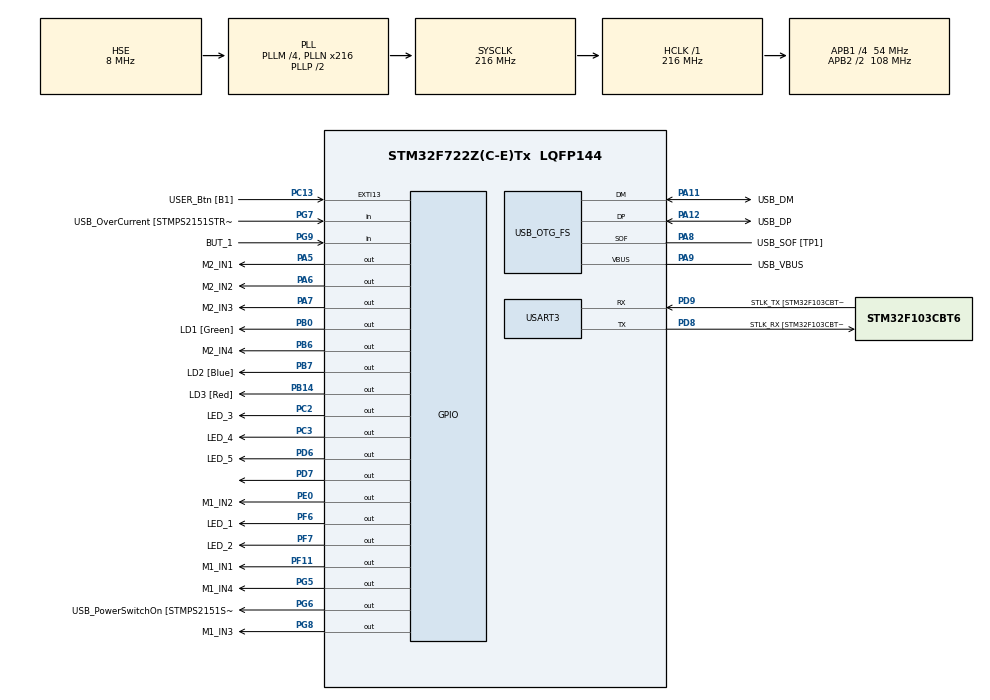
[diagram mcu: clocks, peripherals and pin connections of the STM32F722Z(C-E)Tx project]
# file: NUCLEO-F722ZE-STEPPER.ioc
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Mcu.Family=STM32F7
Mcu.Name=STM32F722Z(C-E)Tx
Mcu.Package=LQFP144
NVIC.EXTI15_10_IRQn=true\:0\:0\:false\:false\:true\:true\:true\:true
NVIC.PriorityGroup=NVIC_PRIORITYGROUP_4
PA10.GPIO_Label=USB_ID
PA10.Signal=USB_OTG_FS_ID
PA11.GPIO_Label=USB_DM
PA11.Mode=Device_Only
PA11.Signal=USB_OTG_FS_DM
PA12.GPIO_Label=USB_DP
PA12.Mode=Device_Only
PA12.Signal=USB_OTG_FS_DP
PA13.GPIO_Label=TMS
PA13.Mode=Serial_Wire
PA13.Signal=SYS_JTMS-SWDIO
PA14.GPIO_Label=TCK
PA14.Mode=Serial_Wire
PA14.Signal=SYS_JTCK-SWCLK
PA5.GPIO_Label=M2_IN1
PA5.Signal=GPIO_Output
PA6.GPIO_Label=M2_IN2
PA6.Signal=GPIO_Output
PA7.GPIO_Label=M2_IN3
PA7.Signal=GPIO_Output
PA8.GPIO_Label=USB_SOF [TP1]
PA8.Mode=Activate_SOF_FS
PA8.Signal=USB_OTG_FS_SOF
PA9.GPIO_Label=USB_VBUS
PA9.Mode=Activate_VBUS
PA9.Signal=USB_OTG_FS_VBUS
PB0.GPIO_Label=LD1 [Green]
PB0.Signal=GPIO_Output
PB14.GPIO_Label=LD3 [Red]
PB14.Signal=GPIO_Output
PB3.GPIO_Label=SWO
PB3.Signal=SYS_JTDO-SWO
PB6.GPIO_Label=M2_IN4
PB6.Signal=GPIO_Output
PB7.GPIO_Label=LD2 [Blue]
PB7.Signal=GPIO_Output
PC13.GPIO_Label=USER_Btn [B1]
PC13.Signal=GPXTI13
PC14-OSC32_IN.Mode=LSE-External-Oscillator
PC14-OSC32_IN.Signal=RCC_OSC32_IN
PC15-OSC32_OUT.Mode=LSE-External-Oscillator
PC15-OSC32_OUT.Signal=RCC_OSC32_OUT
PC2.GPIO_Label=LED_3
PC2.Signal=GPIO_Output
PC3.GPIO_Label=LED_4
PC3.Signal=GPIO_Output
PD6.GPIO_Label=LED_5
PD6.Signal=GPIO_Output
PD7.Signal=GPIO_Output
PD8.GPIO_Label=STLK_RX [STM32F103CBT6_PA3]
PD8.Mode=Asynchronous
PD8.Signal=USART3_TX
PD9.GPIO_Label=STLK_TX [STM32F103CBT6_PA2]
PD9.Mode=Asynchronous
PD9.Signal=USART3_RX
PE0.GPIO_Label=M1_IN2
PE0.Signal=GPIO_Output
PF11.GPIO_Label=M1_IN1
PF11.Signal=GPIO_Output
PF6.GPIO_Label=LED_1
PF6.Signal=GPIO_Output
PF7.GPIO_Label=LED_2
PF7.Signal=GPIO_Output
PG5.GPIO_Label=M1_IN4
PG5.Signal=GPIO_Output
PG6.GPIO_Label=USB_PowerSwitchOn [STMPS2151STR_EN]
PG6.Signal=GPIO_Output
PG7.GPIO_Label=USB_OverCurrent [STMPS2151STR_FAULT]
PG7.Signal=GPIO_Input
PG8.GPIO_Label=M1_IN3
PG8.Signal=GPIO_Output
PG9.GPIO_Label=BUT_1
PG9.GPIO_PuPd=GPIO_PULLUP
PG9.Signal=GPIO_Input
PH0-OSC_IN.GPIO_Label=MCO
PH0-OSC_IN.Mode=HSE-External-Oscillator
PH0-OSC_IN.Signal=RCC_OSC_IN
PH1-OSC_OUT.Mode=HSE-External-Oscillator
PH1-OSC_OUT.Signal=RCC_OSC_OUT
ProjectManager.HeapSize=0x200
ProjectManager.StackSize=0x400
ProjectManager.TargetToolchain=STM32CubeIDE
RCC.48MHZClocksFreq_Value=24000000
RCC.AHBFreq_Value=216000000
RCC.APB1CLKDivider=RCC_HCLK_DIV4
RCC.APB1Freq_Value=54000000
RCC.APB1TimFreq_Value=108000000
RCC.APB2CLKDivider=RCC_HCLK_DIV2
RCC.APB2Freq_Value=108000000
RCC.APB2TimFreq_Value=216000000
RCC.CortexFreq_Value=216000000
RCC.HCLKFreq_Value=216000000
RCC.HSE_VALUE=8000000
RCC.HSI_VALUE=16000000
RCC.PLLM=4
RCC.PLLMUL=RCC_PLL_MUL9
RCC.PLLN=216
RCC.PLLQ=9
RCC.PRESCALERUSB=RCC_USBCLKSOURCE_PLL_DIV1_5
RCC.SYSCLKFreq_VALUE=216000000
RCC.SYSCLKSource=RCC_SYSCLKSOURCE_PLLCLK
RCC.SYSCLKSourceVirtual=RCC_SYSCLKSOURCE_PLLCLK
RCC.USBFreq_Value=48000000
RCC.VCOOutputFreq_Value=432000000
TIM1.Prescaler=72-1
USART3.VirtualMode-Asynchronous=VM_ASYNC
USB_OTG_FS.VirtualMode=Device_Only
VP_TIM1_VS_ClockSourceINT.Mode=Internal
board=NUCLEO-F722ZE

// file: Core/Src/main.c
/* USER CODE BEGIN Header */
/**
  ******************************************************************************
  * @file           : main.c
  * @brief          : Main program body
  ******************************************************************************
  * @attention
  *
  * Copyright (c) 2023 STMicroelectronics.
  * All rights reserved.
  *
  * This software is licensed under terms that can be found in the LICENSE file
  * in the root directory of this software component.
  * If no LICENSE file comes with this software, it is provided AS-IS.
  *
  ******************************************************************************
  */

//TESTING PLAYGROUND

/* USER CODE END Header */
#include "main.h"

TIM_HandleTypeDef htim1;

UART_HandleTypeDef huart3;

PCD_HandleTypeDef hpcd_USB_OTG_FS;

/* USER CODE BEGIN PV */

int buttonPresses = 0;
int lastPressCount = 0;

/* USER CODE END PV */

void SystemClock_Config(void);
static void MX_GPIO_Init(void);
static void MX_USART3_UART_Init(void);
static void MX_USB_OTG_FS_PCD_Init(void);
static void MX_TIM1_Init(void);

/* USER CODE BEGIN 0 */

void delay (uint16_t us)
{
  __HAL_TIM_SET_COUNTER(&htim1, 0);
  while (__HAL_TIM_GET_COUNTER(&htim1) < us);
}

#define stepsperrev 4096

void stepper1_set_rpm (int rpm)  // Set rpm--> max 13, min 1,,,  went to 14 rev/min
{
	delay(60000000/stepsperrev/rpm);
}

void stepper1_half_drive (int step)
{
	switch (step){
		case 0:
			  HAL_GPIO_WritePin(GPIOG, GPIO_PIN_5, GPIO_PIN_SET);   // IN1
			  HAL_GPIO_WritePin(GPIOG, GPIO_PIN_8, GPIO_PIN_RESET);   // IN2
			  HAL_GPIO_WritePin(GPIOE, GPIO_PIN_0, GPIO_PIN_RESET);   // IN3
			  HAL_GPIO_WritePin(GPIOF, GPIO_PIN_11, GPIO_PIN_RESET);   // IN4
			  break;

		case 1:
			  HAL_GPIO_WritePin(GPIOG, GPIO_PIN_5, GPIO_PIN_SET);   // IN1
			  HAL_GPIO_WritePin(GPIOG, GPIO_PIN_8, GPIO_PIN_SET);   // IN2
			  HAL_GPIO_WritePin(GPIOE, GPIO_PIN_0, GPIO_PIN_RESET);   // IN3
			  HAL_GPIO_WritePin(GPIOF, GPIO_PIN_11, GPIO_PIN_RESET);   // IN4
			  break;

		case 2:
			  HAL_GPIO_WritePin(GPIOG, GPIO_PIN_5, GPIO_PIN_RESET);   // IN1
			  HAL_GPIO_WritePin(GPIOG, GPIO_PIN_8, GPIO_PIN_SET);   // IN2
			  HAL_GPIO_WritePin(GPIOE, GPIO_PIN_0, GPIO_PIN_RESET);   // IN3
			  HAL_GPIO_WritePin(GPIOF, GPIO_PIN_11, GPIO_PIN_RESET);   // IN4
			  break;

		case 3:
			  HAL_GPIO_WritePin(GPIOG, GPIO_PIN_5, GPIO_PIN_RESET);   // IN1
			  HAL_GPIO_WritePin(GPIOG, GPIO_PIN_8, GPIO_PIN_SET);   // IN2
			  HAL_GPIO_WritePin(GPIOE, GPIO_PIN_0, GPIO_PIN_SET);   // IN3
			  HAL_GPIO_WritePin(GPIOF, GPIO_PIN_11, GPIO_PIN_RESET);   // IN4
			  break;

		case 4:
			  HAL_GPIO_WritePin(GPIOG, GPIO_PIN_5, GPIO_PIN_RESET);   // IN1
			  HAL_GPIO_WritePin(GPIOG, GPIO_PIN_8, GPIO_PIN_RESET);   // IN2
			  HAL_GPIO_WritePin(GPIOE, GPIO_PIN_0, GPIO_PIN_SET);   // IN3
			  HAL_GPIO_WritePin(GPIOF, GPIO_PIN_11, GPIO_PIN_RESET);   // IN4
			  break;

		case 5:
			  HAL_GPIO_WritePin(GPIOG, GPIO_PIN_5, GPIO_PIN_RESET);   // IN1
			  HAL_GPIO_WritePin(GPIOG, GPIO_PIN_8, GPIO_PIN_RESET);   // IN2
			  HAL_GPIO_WritePin(GPIOE, GPIO_PIN_0, GPIO_PIN_SET);   // IN3
			  HAL_GPIO_WritePin(GPIOF, GPIO_PIN_11, GPIO_PIN_SET);   // IN4
			  break;

		case 6:
			  HAL_GPIO_WritePin(GPIOG, GPIO_PIN_5, GPIO_PIN_RESET);   // IN1
			  HAL_GPIO_WritePin(GPIOG, GPIO_PIN_8, GPIO_PIN_RESET);   // IN2
			  HAL_GPIO_WritePin(GPIOE, GPIO_PIN_0, GPIO_PIN_RESET);   // IN3
			  HAL_GPIO_WritePin(GPIOF, GPIO_PIN_11, GPIO_PIN_SET);   // IN4
			  break;

		case 7:
			  HAL_GPIO_WritePin(GPIOG, GPIO_PIN_5, GPIO_PIN_SET);   // IN1
			  HAL_GPIO_WritePin(GPIOG, GPIO_PIN_8, GPIO_PIN_RESET);   // IN2
			  HAL_GPIO_WritePin(GPIOE, GPIO_PIN_0, GPIO_PIN_RESET);   // IN3
			  HAL_GPIO_WritePin(GPIOF, GPIO_PIN_11, GPIO_PIN_SET);   // IN4
			  break;

		}
}

void stepper1_step_angle (float angle, int direction, float rpm)
{
	float anglepersequence = 0.703125;  // 360 = 512 sequences
	int numberofsequences = (int) (angle/anglepersequence);

	for (int seq=0; seq<numberofsequences; seq++)
	{
		if (direction == 0)  // for clockwise
		{
			for (int step=7; step>=0; step--)
			{
				stepper1_half_drive(step);
				stepper1_set_rpm(rpm);
			}

		}

		else if (direction == 1)  // for anti-clockwise
		{
			for (int step=0; step<8; step++)
			{
				stepper1_half_drive(step);
				stepper1_set_rpm(rpm);
			}
		}
	}
}

void stepper2_set_rpm (float rpm)  // Set rpm--> max 13, min 1,,,  went to 14 rev/min
{
	delay(60000000/stepsperrev/rpm);
}

void stepper2_half_drive (int step)
{
	switch (step){
		case 0:
			  HAL_GPIO_WritePin(GPIOA, GPIO_PIN_5, GPIO_PIN_SET);   // IN1
			  HAL_GPIO_WritePin(GPIOA, GPIO_PIN_6, GPIO_PIN_RESET);   // IN2
			  HAL_GPIO_WritePin(GPIOA, GPIO_PIN_7, GPIO_PIN_RESET);   // IN3
			  HAL_GPIO_WritePin(GPIOB, GPIO_PIN_6, GPIO_PIN_RESET);   // IN4
			  break;

		case 1:
			  HAL_GPIO_WritePin(GPIOA, GPIO_PIN_5, GPIO_PIN_SET);   // IN1
			  HAL_GPIO_WritePin(GPIOA, GPIO_PIN_6, GPIO_PIN_SET);   // IN2
			  HAL_GPIO_WritePin(GPIOA, GPIO_PIN_7, GPIO_PIN_RESET);   // IN3
			  HAL_GPIO_WritePin(GPIOB, GPIO_PIN_6, GPIO_PIN_RESET);   // IN4
			  break;

		case 2:
			  HAL_GPIO_WritePin(GPIOA, GPIO_PIN_5, GPIO_PIN_RESET);   // IN1
			  HAL_GPIO_WritePin(GPIOA, GPIO_PIN_6, GPIO_PIN_SET);   // IN2
			  HAL_GPIO_WritePin(GPIOA, GPIO_PIN_7, GPIO_PIN_RESET);   // IN3
			  HAL_GPIO_WritePin(GPIOB, GPIO_PIN_6, GPIO_PIN_RESET);   // IN4
			  break;

		case 3:
			  HAL_GPIO_WritePin(GPIOA, GPIO_PIN_5, GPIO_PIN_RESET);   // IN1
			  HAL_GPIO_WritePin(GPIOA, GPIO_PIN_6, GPIO_PIN_SET);   // IN2
			  HAL_GPIO_WritePin(GPIOA, GPIO_PIN_7, GPIO_PIN_SET);   // IN3
			  HAL_GPIO_WritePin(GPIOB, GPIO_PIN_6, GPIO_PIN_RESET);   // IN4
			  break;

		case 4:
			  HAL_GPIO_WritePin(GPIOA, GPIO_PIN_5, GPIO_PIN_RESET);   // IN1
			  HAL_GPIO_WritePin(GPIOA, GPIO_PIN_6, GPIO_PIN_RESET);   // IN2
			  HAL_GPIO_WritePin(GPIOA, GPIO_PIN_7, GPIO_PIN_SET);   // IN3
			  HAL_GPIO_WritePin(GPIOB, GPIO_PIN_6, GPIO_PIN_RESET);   // IN4
			  break;

		case 5:
			  HAL_GPIO_WritePin(GPIOA, GPIO_PIN_5, GPIO_PIN_RESET);   // IN1
			  HAL_GPIO_WritePin(GPIOA, GPIO_PIN_6, GPIO_PIN_RESET);   // IN2
			  HAL_GPIO_WritePin(GPIOA, GPIO_PIN_7, GPIO_PIN_SET);   // IN3
			  HAL_GPIO_WritePin(GPIOB, GPIO_PIN_6, GPIO_PIN_SET);   // IN4
			  break;

		case 6:
			  HAL_GPIO_WritePin(GPIOA, GPIO_PIN_5, GPIO_PIN_RESET);   // IN1
			  HAL_GPIO_WritePin(GPIOA, GPIO_PIN_6, GPIO_PIN_RESET);   // IN2
			  HAL_GPIO_WritePin(GPIOA, GPIO_PIN_7, GPIO_PIN_RESET);   // IN3
			  HAL_GPIO_WritePin(GPIOB, GPIO_PIN_6, GPIO_PIN_SET);   // IN4
			  break;

		case 7:
			  HAL_GPIO_WritePin(GPIOA, GPIO_PIN_5, GPIO_PIN_SET);   // IN1
			  HAL_GPIO_WritePin(GPIOA, GPIO_PIN_6, GPIO_PIN_RESET);   // IN2
			  HAL_GPIO_WritePin(GPIOA, GPIO_PIN_7, GPIO_PIN_RESET);   // IN3
			  HAL_GPIO_WritePin(GPIOB, GPIO_PIN_6, GPIO_PIN_SET);   // IN4
			  break;

		}
}

void stepper2_step_angle (float angle, int direction, float rpm)
{
	float anglepersequence = 0.703125;  // 360 = 512 sequences
	int numberofsequences = (int) (angle/anglepersequence);

	for (int seq=0; seq<numberofsequences; seq++)
	{
		if (direction == 0)  // for clockwise
		{
			for (int step=7; step>=0; step--)
			{
				stepper2_half_drive(step);
				stepper2_set_rpm(rpm);
			}

		}

		else if (direction == 1)  // for anti-clockwise
		{
			for (int step=0; step<8; step++)
			{
				stepper2_half_drive(step);
				stepper2_set_rpm(rpm);
			}
		}
	}
}

/* USER CODE END 0 */

int main(void)
{

  /* MCU Configuration--------------------------------------------------------*/

  /* Reset of all peripherals, Initializes the Flash interface and the Systick. */
  HAL_Init();

  /* Configure the system clock */
  SystemClock_Config();

  /* Initialize all configured peripherals */
  MX_GPIO_Init();
  MX_USART3_UART_Init();
  MX_USB_OTG_FS_PCD_Init();
  MX_TIM1_Init();
  /* USER CODE BEGIN 2 */

  HAL_TIM_Base_Start(&htim1);

  /* USER CODE END 2 */

  /* Infinite loop */
  /* USER CODE BEGIN WHILE */
  while (1)
  {
	  if (HAL_GPIO_ReadPin(GPIOG, GPIO_PIN_9) == 0)
	  {
		  buttonPresses++;
		  HAL_Delay(250);								//debounce switch
	  }

	  if (buttonPresses == 6) buttonPresses = 0;
	  if (lastPressCount != buttonPresses)
	  {
		  if (buttonPresses == 1){
			  HAL_GPIO_WritePin(GPIOF, GPIO_PIN_6, GPIO_PIN_SET);
			  HAL_GPIO_WritePin(GPIOF, GPIO_PIN_7, GPIO_PIN_RESET);
			  HAL_GPIO_WritePin(GPIOC, GPIO_PIN_2, GPIO_PIN_RESET);
			  HAL_GPIO_WritePin(GPIOC, GPIO_PIN_3, GPIO_PIN_RESET);
			  HAL_GPIO_WritePin(GPIOD, GPIO_PIN_6, GPIO_PIN_RESET);
			  stepper2_step_angle(216, 0, 2);
		  }
		  else if (buttonPresses == 2){
			  HAL_GPIO_WritePin(GPIOF, GPIO_PIN_6, GPIO_PIN_RESET);
			  HAL_GPIO_WritePin(GPIOF, GPIO_PIN_7, GPIO_PIN_SET);
			  HAL_GPIO_WritePin(GPIOC, GPIO_PIN_2, GPIO_PIN_RESET);
			  HAL_GPIO_WritePin(GPIOC, GPIO_PIN_3, GPIO_PIN_RESET);
			  HAL_GPIO_WritePin(GPIOD, GPIO_PIN_6, GPIO_PIN_RESET);
			  stepper1_step_angle(330, 1, 2);
		  }
		  else if (buttonPresses == 3){
			  HAL_GPIO_WritePin(GPIOF, GPIO_PIN_6, GPIO_PIN_RESET);
			  HAL_GPIO_WritePin(GPIOF, GPIO_PIN_7, GPIO_PIN_RESET);
			  HAL_GPIO_WritePin(GPIOC, GPIO_PIN_2, GPIO_PIN_SET);
			  HAL_GPIO_WritePin(GPIOC, GPIO_PIN_3, GPIO_PIN_RESET);
			  HAL_GPIO_WritePin(GPIOD, GPIO_PIN_6, GPIO_PIN_RESET);
			  stepper1_step_angle(150, 0, 2);
		  }
		  else if (buttonPresses == 4){
			  HAL_GPIO_WritePin(GPIOF, GPIO_PIN_6, GPIO_PIN_RESET);
			  HAL_GPIO_WritePin(GPIOF, GPIO_PIN_7, GPIO_PIN_RESET);
			  HAL_GPIO_WritePin(GPIOC, GPIO_PIN_2, GPIO_PIN_RESET);
			  HAL_GPIO_WritePin(GPIOC, GPIO_PIN_3, GPIO_PIN_SET);
			  HAL_GPIO_WritePin(GPIOD, GPIO_PIN_6, GPIO_PIN_RESET);
			  stepper1_step_angle(240, 0, 2);
		  }
		  else if (buttonPresses == 5){
			  HAL_GPIO_WritePin(GPIOF, GPIO_PIN_6, GPIO_PIN_RESET);
			  HAL_GPIO_WritePin(GPIOF, GPIO_PIN_7, GPIO_PIN_RESET);
			  HAL_GPIO_WritePin(GPIOC, GPIO_PIN_2, GPIO_PIN_RESET);
			  HAL_GPIO_WritePin(GPIOC, GPIO_PIN_3, GPIO_PIN_RESET);
			  HAL_GPIO_WritePin(GPIOD, GPIO_PIN_6, GPIO_PIN_SET);
			  stepper1_step_angle(30, 0, 2);
		  }
		  else {
		  }
		  lastPressCount = buttonPresses;
	  }

	  //Stepper motor test

	  //stepper2_step_angle(90, 0, 1);
	  //stepper1_step_angle(180, 0, 1);

	  /*
	  for (int i=0; i<512; i++)
	  {
		  for (int i=7; i>=0; i--)
		  {
			  stepper1_half_drive(i);
			  stepper1_set_rpm(2);

			  stepper2_half_drive(i);
			  stepper2_set_rpm(2);
		  }
	  }
	  */

	  //stepper_step_angle(90, 1, 5);
	  //HAL_Delay(2000);

	  //GPIO input test
	  /*
	  if (HAL_GPIO_ReadPin(GPIOG, GPIO_PIN_9) == 0)
	  {
		  HAL_GPIO_WritePin(GPIOF, GPIO_PIN_6, GPIO_PIN_RESET);
		  HAL_GPIO_WritePin(GPIOF, GPIO_PIN_7, GPIO_PIN_RESET);
		  HAL_GPIO_WritePin(GPIOC, GPIO_PIN_2, GPIO_PIN_RESET);
		  HAL_GPIO_WritePin(GPIOC, GPIO_PIN_3, GPIO_PIN_RESET);
		  HAL_GPIO_WritePin(GPIOD, GPIO_PIN_6, GPIO_PIN_RESET);

	  }
	  else
	  {
		  HAL_GPIO_WritePin(GPIOF, GPIO_PIN_6, GPIO_PIN_SET);
		  HAL_GPIO_WritePin(GPIOF, GPIO_PIN_7, GPIO_PIN_SET);
		  HAL_GPIO_WritePin(GPIOC, GPIO_PIN_2, GPIO_PIN_SET);
		  HAL_GPIO_WritePin(GPIOC, GPIO_PIN_3, GPIO_PIN_SET);
		  HAL_GPIO_WritePin(GPIOD, GPIO_PIN_6, GPIO_PIN_SET);
	  }
	  */

	  /*
	  //Blink test
	  HAL_GPIO_WritePin(GPIOB, GPIO_PIN_0, GPIO_PIN_SET);
	  HAL_Delay(200);
	  HAL_GPIO_WritePin(GPIOB, GPIO_PIN_0, GPIO_PIN_RESET);
	  HAL_GPIO_WritePin(GPIOB, GPIO_PIN_7, GPIO_PIN_SET);
	  HAL_Delay(200);
	  HAL_GPIO_WritePin(GPIOB, GPIO_PIN_7, GPIO_PIN_RESET);
	  HAL_GPIO_WritePin(GPIOB, GPIO_PIN_14, GPIO_PIN_SET);
	  HAL_Delay(200);
	  HAL_GPIO_WritePin(GPIOB, GPIO_PIN_14, GPIO_PIN_RESET);
	  */
    /* USER CODE END WHILE */

  }
}

void SystemClock_Config(void)
{
  RCC_OscInitTypeDef RCC_OscInitStruct = {0};
  RCC_ClkInitTypeDef RCC_ClkInitStruct = {0};

  /** Configure LSE Drive Capability
  */
  HAL_PWR_EnableBkUpAccess();

  /** Configure the main internal regulator output voltage
  */
  __HAL_RCC_PWR_CLK_ENABLE();
  __HAL_PWR_VOLTAGESCALING_CONFIG(PWR_REGULATOR_VOLTAGE_SCALE1);

  /** Initializes the RCC Oscillators according to the specified parameters
  * in the RCC_OscInitTypeDef structure.
  */
  RCC_OscInitStruct.OscillatorType = RCC_OSCILLATORTYPE_HSE;
  RCC_OscInitStruct.HSEState = RCC_HSE_ON;
  RCC_OscInitStruct.PLL.PLLState = RCC_PLL_ON;
  RCC_OscInitStruct.PLL.PLLSource = RCC_PLLSOURCE_HSE;
  RCC_OscInitStruct.PLL.PLLM = 4;
  RCC_OscInitStruct.PLL.PLLN = 216;
  RCC_OscInitStruct.PLL.PLLP = RCC_PLLP_DIV2;
  RCC_OscInitStruct.PLL.PLLQ = 9;
  if (HAL_RCC_OscConfig(&RCC_OscInitStruct) != HAL_OK)
  {
    Error_Handler();
  }

  /** Activate the Over-Drive mode
  */
  if (HAL_PWREx_EnableOverDrive() != HAL_OK)
  {
    Error_Handler();
  }

  /** Initializes the CPU, AHB and APB buses clocks
  */
  RCC_ClkInitStruct.ClockType = RCC_CLOCKTYPE_HCLK|RCC_CLOCKTYPE_SYSCLK
                              |RCC_CLOCKTYPE_PCLK1|RCC_CLOCKTYPE_PCLK2;
  RCC_ClkInitStruct.SYSCLKSource = RCC_SYSCLKSOURCE_PLLCLK;
  RCC_ClkInitStruct.AHBCLKDivider = RCC_SYSCLK_DIV1;
  RCC_ClkInitStruct.APB1CLKDivider = RCC_HCLK_DIV4;
  RCC_ClkInitStruct.APB2CLKDivider = RCC_HCLK_DIV2;

  if (HAL_RCC_ClockConfig(&RCC_ClkInitStruct, FLASH_LATENCY_7) != HAL_OK)
  {
    Error_Handler();
  }
}

static void MX_TIM1_Init(void)
{

  TIM_ClockConfigTypeDef sClockSourceConfig = {0};
  TIM_MasterConfigTypeDef sMasterConfig = {0};

  htim1.Instance = TIM1;
  htim1.Init.Prescaler = 72-1;
  htim1.Init.CounterMode = TIM_COUNTERMODE_UP;
  htim1.Init.Period = 65535;
  htim1.Init.ClockDivision = TIM_CLOCKDIVISION_DIV1;
  htim1.Init.RepetitionCounter = 0;
  htim1.Init.AutoReloadPreload = TIM_AUTORELOAD_PRELOAD_DISABLE;
  if (HAL_TIM_Base_Init(&htim1) != HAL_OK)
  {
    Error_Handler();
  }
  sClockSourceConfig.ClockSource = TIM_CLOCKSOURCE_INTERNAL;
  if (HAL_TIM_ConfigClockSource(&htim1, &sClockSourceConfig) != HAL_OK)
  {
    Error_Handler();
  }
  sMasterConfig.MasterOutputTrigger = TIM_TRGO_RESET;
  sMasterConfig.MasterOutputTrigger2 = TIM_TRGO2_RESET;
  sMasterConfig.MasterSlaveMode = TIM_MASTERSLAVEMODE_DISABLE;
  if (HAL_TIMEx_MasterConfigSynchronization(&htim1, &sMasterConfig) != HAL_OK)
  {
    Error_Handler();
  }

}

static void MX_USART3_UART_Init(void)
{

  huart3.Instance = USART3;
  huart3.Init.BaudRate = 115200;
  huart3.Init.WordLength = UART_WORDLENGTH_8B;
  huart3.Init.StopBits = UART_STOPBITS_1;
  huart3.Init.Parity = UART_PARITY_NONE;
  huart3.Init.Mode = UART_MODE_TX_RX;
  huart3.Init.HwFlowCtl = UART_HWCONTROL_NONE;
  huart3.Init.OverSampling = UART_OVERSAMPLING_16;
  huart3.Init.OneBitSampling = UART_ONE_BIT_SAMPLE_DISABLE;
  huart3.AdvancedInit.AdvFeatureInit = UART_ADVFEATURE_NO_INIT;
  if (HAL_UART_Init(&huart3) != HAL_OK)
  {
    Error_Handler();
  }

}

static void MX_USB_OTG_FS_PCD_Init(void)
{

  hpcd_USB_OTG_FS.Instance = USB_OTG_FS;
  hpcd_USB_OTG_FS.Init.dev_endpoints = 6;
  hpcd_USB_OTG_FS.Init.dma_enable = DISABLE;
  hpcd_USB_OTG_FS.Init.phy_itface = PCD_PHY_EMBEDDED;
  hpcd_USB_OTG_FS.Init.Sof_enable = ENABLE;
  hpcd_USB_OTG_FS.Init.low_power_enable = DISABLE;
  hpcd_USB_OTG_FS.Init.lpm_enable = DISABLE;
  hpcd_USB_OTG_FS.Init.battery_charging_enable = ENABLE;
  hpcd_USB_OTG_FS.Init.vbus_sensing_enable = ENABLE;
  hpcd_USB_OTG_FS.Init.use_dedicated_ep1 = DISABLE;
  if (HAL_PCD_Init(&hpcd_USB_OTG_FS) != HAL_OK)
  {
    Error_Handler();
  }

}

static void MX_GPIO_Init(void)
{
  GPIO_InitTypeDef GPIO_InitStruct = {0};

  /* GPIO Ports Clock Enable */
  __HAL_RCC_GPIOC_CLK_ENABLE();
  __HAL_RCC_GPIOF_CLK_ENABLE();
  __HAL_RCC_GPIOH_CLK_ENABLE();
  __HAL_RCC_GPIOA_CLK_ENABLE();
  __HAL_RCC_GPIOB_CLK_ENABLE();
  __HAL_RCC_GPIOD_CLK_ENABLE();
  __HAL_RCC_GPIOG_CLK_ENABLE();
  __HAL_RCC_GPIOE_CLK_ENABLE();

  /*Configure GPIO pin Output Level */
  HAL_GPIO_WritePin(GPIOF, LED_1_Pin|LED_2_Pin|M1_IN1_Pin, GPIO_PIN_RESET);

  /*Configure GPIO pin Output Level */
  HAL_GPIO_WritePin(GPIOC, LED_3_Pin|LED_4_Pin, GPIO_PIN_RESET);

  /*Configure GPIO pin Output Level */
  HAL_GPIO_WritePin(GPIOA, M2_IN1_Pin|M2_IN2_Pin|M2_IN3_Pin, GPIO_PIN_RESET);

  /*Configure GPIO pin Output Level */
  HAL_GPIO_WritePin(GPIOB, LD1_Pin|LD3_Pin|M2_IN4_Pin|LD2_Pin, GPIO_PIN_RESET);

  /*Configure GPIO pin Output Level */
  HAL_GPIO_WritePin(GPIOG, M1_IN4_Pin|USB_PowerSwitchOn_Pin|M1_IN3_Pin, GPIO_PIN_RESET);

  /*Configure GPIO pin Output Level */
  HAL_GPIO_WritePin(GPIOD, LED_5_Pin|GPIO_PIN_7, GPIO_PIN_RESET);

  /*Configure GPIO pin Output Level */
  HAL_GPIO_WritePin(M1_IN2_GPIO_Port, M1_IN2_Pin, GPIO_PIN_RESET);

  /*Configure GPIO pin : USER_Btn_Pin */
  GPIO_InitStruct.Pin = USER_Btn_Pin;
  GPIO_InitStruct.Mode = GPIO_MODE_IT_RISING;
  GPIO_InitStruct.Pull = GPIO_NOPULL;
  HAL_GPIO_Init(USER_Btn_GPIO_Port, &GPIO_InitStruct);

  /*Configure GPIO pins : LED_1_Pin LED_2_Pin M1_IN1_Pin */
  GPIO_InitStruct.Pin = LED_1_Pin|LED_2_Pin|M1_IN1_Pin;
  GPIO_InitStruct.Mode = GPIO_MODE_OUTPUT_PP;
  GPIO_InitStruct.Pull = GPIO_NOPULL;
  GPIO_InitStruct.Speed = GPIO_SPEED_FREQ_LOW;
  HAL_GPIO_Init(GPIOF, &GPIO_InitStruct);

  /*Configure GPIO pins : LED_3_Pin LED_4_Pin */
  GPIO_InitStruct.Pin = LED_3_Pin|LED_4_Pin;
  GPIO_InitStruct.Mode = GPIO_MODE_OUTPUT_PP;
  GPIO_InitStruct.Pull = GPIO_NOPULL;
  GPIO_InitStruct.Speed = GPIO_SPEED_FREQ_LOW;
  HAL_GPIO_Init(GPIOC, &GPIO_InitStruct);

  /*Configure GPIO pins : M2_IN1_Pin M2_IN2_Pin M2_IN3_Pin */
  GPIO_InitStruct.Pin = M2_IN1_Pin|M2_IN2_Pin|M2_IN3_Pin;
  GPIO_InitStruct.Mode = GPIO_MODE_OUTPUT_PP;
  GPIO_InitStruct.Pull = GPIO_NOPULL;
  GPIO_InitStruct.Speed = GPIO_SPEED_FREQ_LOW;
  HAL_GPIO_Init(GPIOA, &GPIO_InitStruct);

  /*Configure GPIO pins : LD1_Pin LD3_Pin M2_IN4_Pin LD2_Pin */
  GPIO_InitStruct.Pin = LD1_Pin|LD3_Pin|M2_IN4_Pin|LD2_Pin;
  GPIO_InitStruct.Mode = GPIO_MODE_OUTPUT_PP;
  GPIO_InitStruct.Pull = GPIO_NOPULL;
  GPIO_InitStruct.Speed = GPIO_SPEED_FREQ_LOW;
  HAL_GPIO_Init(GPIOB, &GPIO_InitStruct);

  /*Configure GPIO pins : M1_IN4_Pin USB_PowerSwitchOn_Pin M1_IN3_Pin */
  GPIO_InitStruct.Pin = M1_IN4_Pin|USB_PowerSwitchOn_Pin|M1_IN3_Pin;
  GPIO_InitStruct.Mode = GPIO_MODE_OUTPUT_PP;
  GPIO_InitStruct.Pull = GPIO_NOPULL;
  GPIO_InitStruct.Speed = GPIO_SPEED_FREQ_LOW;
  HAL_GPIO_Init(GPIOG, &GPIO_InitStruct);

  /*Configure GPIO pin : USB_OverCurrent_Pin */
  GPIO_InitStruct.Pin = USB_OverCurrent_Pin;
  GPIO_InitStruct.Mode = GPIO_MODE_INPUT;
  GPIO_InitStruct.Pull = GPIO_NOPULL;
  HAL_GPIO_Init(USB_OverCurrent_GPIO_Port, &GPIO_InitStruct);

  /*Configure GPIO pins : LED_5_Pin PD7 */
  GPIO_InitStruct.Pin = LED_5_Pin|GPIO_PIN_7;
  GPIO_InitStruct.Mode = GPIO_MODE_OUTPUT_PP;
  GPIO_InitStruct.Pull = GPIO_NOPULL;
  GPIO_InitStruct.Speed = GPIO_SPEED_FREQ_LOW;
  HAL_GPIO_Init(GPIOD, &GPIO_InitStruct);

  /*Configure GPIO pin : BUT_1_Pin */
  GPIO_InitStruct.Pin = BUT_1_Pin;
  GPIO_InitStruct.Mode = GPIO_MODE_INPUT;
  GPIO_InitStruct.Pull = GPIO_PULLUP;
  HAL_GPIO_Init(BUT_1_GPIO_Port, &GPIO_InitStruct);

  /*Configure GPIO pin : M1_IN2_Pin */
  GPIO_InitStruct.Pin = M1_IN2_Pin;
  GPIO_InitStruct.Mode = GPIO_MODE_OUTPUT_PP;
  GPIO_InitStruct.Pull = GPIO_NOPULL;
  GPIO_InitStruct.Speed = GPIO_SPEED_FREQ_LOW;
  HAL_GPIO_Init(M1_IN2_GPIO_Port, &GPIO_InitStruct);

  /* EXTI interrupt init*/
  HAL_NVIC_SetPriority(EXTI15_10_IRQn, 0, 0);
  HAL_NVIC_EnableIRQ(EXTI15_10_IRQn);

}

/* USER CODE BEGIN 4 */
/*
void HAL_GPIO_EXTI_Callback(uint16_t GPIO_Pin)
{
	HAL_GPIO_TogglePin(GPIOB, GPIO_PIN_0);
	HAL_GPIO_TogglePin(GPIOB, GPIO_PIN_7);
	HAL_GPIO_TogglePin(GPIOB, GPIO_PIN_14);
}
*/
/* USER CODE END 4 */

void Error_Handler(void)
{
  __disable_irq();
  while (1)
  {
  }
}
